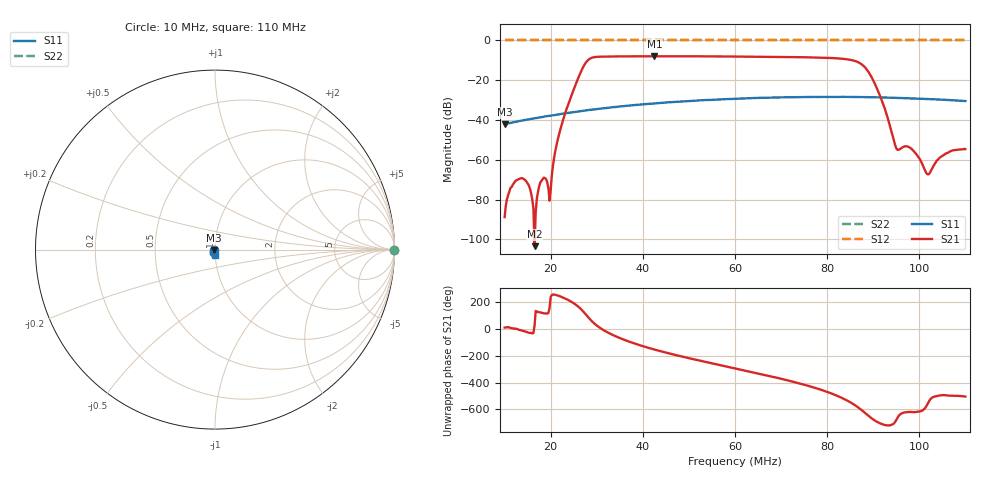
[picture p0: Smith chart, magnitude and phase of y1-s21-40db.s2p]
! Anritsu VNA Master:  Model: MS2034B/10/19/501
! SN:  1337062
! /bd0/ovro-jan-2016/y1-s21-40db.s2p
! Existing Calibration Information:
! TYPE:  Current Settings,  Active Cal Settings
! TIME:  01/08/2016 03:12:54 PM,  01/08/2016 03:05:41 PM
! INTERNAL TEMP:  42.0 C,  43.3 C
! # POINTS:  401,  401
! START FREQ:  10.000 MHz,  10.000 MHz
! STOP FREQ:  110.000 MHz,  110.000 MHz
! SOURCE POWER:  High,  High
! IFBW:  100 Hz,  100 Hz
! AVG FACTOR:  1 ,  1
! REF PLANE 1:  0 mm,  0 mm
! REF PLANE 2:  0 mm,  0 mm
! CAL TYPE:  1P2P S11,S21,  1P2P S11,S21
! CAL METHOD:  SOLT,  SOLT
! CAL LINE TYPE:  Coax,  Coax
! DUT PORT 1:  K-Conn(M),  K-Conn(M)
! DUT PORT 2:  N-Conn(M),  N-Conn(M)
! CAL STATUS:  OK: Accuracy High,  --
# GHZ S DB R 50.0
! FREQ.GHZ  S11DB  S11A  S21DB  S21A  S12DB  S12A  S22DB  S22A
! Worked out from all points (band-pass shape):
!   401 points, 10 MHz to 110 MHz, reference 50 ohm
!   highest |S21| = -7.94 dB at 42.5 MHz (marker M1); lowest = -103.4 dB at 16.5 MHz (marker M2)
!   |S21| within 3 dB of the highest: 27.7 MHz to 86.72 MHz (59.02 MHz wide, 103 % of centre)
!   lowest |S11| = -42.1 dB at 10 MHz (marker M3), VSWR 1.02, Z = 49.3 - j0.233 ohm
!   |S11| at or under -10 dB: start of sweep to end of sweep
!   |S22| runs from 0.0 to 0.0 dB; largest |S21 - S12| = 1.4
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0.01  -42.13 -162.4  -88.82 7.1  0.00 0.0  0.00 0.0
0.0135  -40.41 -166.9  -69.33 -12.3  0.00 0.0  0.00 0.0
0.0165  -39.14 -168.7  -103.44 21.4  0.00 0.0  0.00 0.0
0.01825  -38.45 -169.0  -69.70 115.7  0.00 0.0  0.00 0.0
0.01975  -37.89 -169.1  -80.56 151.8  0.00 0.0  0.00 0.0
0.02225  -36.97 -168.6  -43.48 -124.1  0.00 0.0  0.00 0.0
0.02675  -35.46 -166.8  -14.78 138.0  0.00 0.0  0.00 0.0
0.0285  -34.87 -165.8  -9.19 70.3  0.00 0.0  0.00 0.0
0.03125  -34.16 -163.7  -8.14 -6.9  0.00 0.0  0.00 0.0
0.036  -32.97 -159.8  -8.00 -83.9  0.00 0.0  0.00 0.0
0.0425  -31.66 -153.4  -7.94 -155.4  0.00 0.0  0.00 0.0
0.0435  -31.48 -152.3  -7.95 -164.7  0.00 0.0  0.00 0.0
0.06  -29.34 -133.7  -8.08 65.2  0.00 0.0  0.00 0.0
0.06875  -28.68 -123.8  -8.23 -1.9  0.00 0.0  0.00 0.0
0.07675  -28.43 -114.9  -8.52 -73.4  0.00 0.0  0.00 0.0
0.08375  -28.37 -107.7  -9.31 -163.4  0.00 0.0  0.00 0.0
0.08775  -28.46 -103.2  -12.48 107.7  0.00 0.0  0.00 0.0
0.0935  -28.76 -97.9  -42.02 2.1  0.00 0.0  0.00 0.0
0.09525  -28.86 -96.5  -54.97 58.1  0.00 0.0  0.00 0.0
0.09825  -29.18 -94.2  -54.34 101.1  0.00 0.0  0.00 0.0
0.10175  -29.45 -91.7  -67.27 158.6  0.00 0.0  0.00 0.0
0.11  -30.46 -88.1  -54.65 -144.4  0.00 0.0  0.00 0.0
